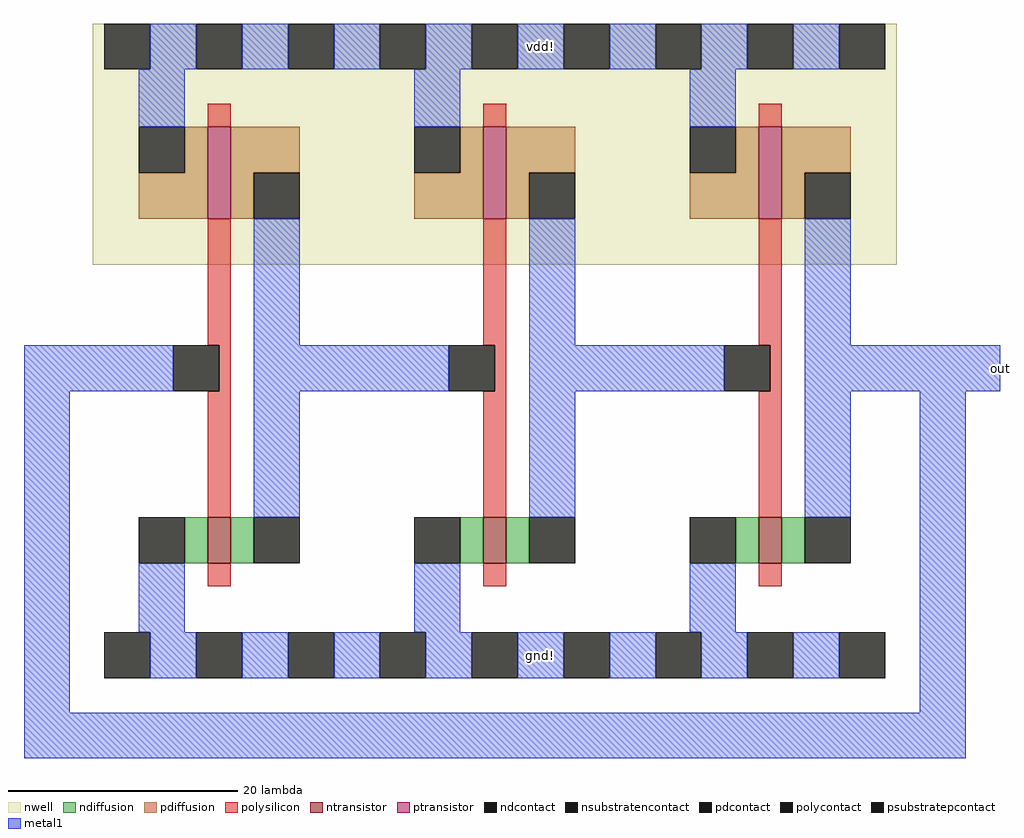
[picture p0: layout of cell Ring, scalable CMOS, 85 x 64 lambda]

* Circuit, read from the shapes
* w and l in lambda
.subckt Ring gnd! out vdd!
M1 n1 out gnd! gnd! nfet w=4 l=2
M2 n2 n1 gnd! gnd! nfet w=4 l=2
M3 out n2 gnd! gnd! nfet w=4 l=2
M4 n1 out vdd! vdd! pfet w=8 l=2
M5 n2 n1 vdd! vdd! pfet w=8 l=2
M6 out n2 vdd! vdd! pfet w=8 l=2
.ends

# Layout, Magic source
magic
tech scmos
<< nwell >>
rect -9 26 61 47
<< polysilicon >>
rect 1 38 3 40
rect 25 38 27 40
rect 49 38 51 40
rect 1 19 3 30
rect 25 19 27 30
rect 49 19 51 30
rect 2 15 3 19
rect 26 15 27 19
rect 50 15 51 19
rect 1 4 3 15
rect 25 4 27 15
rect 49 4 51 15
rect 1 -2 3 0
rect 25 -2 27 0
rect 49 -2 51 0
<< ndiffusion >>
rect -1 0 1 4
rect 3 0 5 4
rect 23 0 25 4
rect 27 0 29 4
rect 47 0 49 4
rect 51 0 53 4
<< pdiffusion >>
rect -1 34 1 38
rect -5 30 1 34
rect 3 34 9 38
rect 3 30 5 34
rect 23 34 25 38
rect 19 30 25 34
rect 27 34 33 38
rect 27 30 29 34
rect 47 34 49 38
rect 43 30 49 34
rect 51 34 57 38
rect 51 30 53 34
<< metal1 >>
rect -4 43 0 47
rect 4 43 8 47
rect 12 43 16 47
rect 20 43 24 47
rect 28 43 32 47
rect 36 43 40 47
rect 44 43 48 47
rect 52 43 56 47
rect -5 38 -1 43
rect 19 38 23 43
rect 43 38 47 43
rect 5 19 9 30
rect 29 19 33 30
rect 53 19 57 30
rect -15 15 -2 19
rect 5 15 22 19
rect 29 15 46 19
rect 53 15 70 19
rect -15 -13 -11 15
rect 5 4 9 15
rect 29 4 33 15
rect 53 4 57 15
rect -5 -6 -1 0
rect 19 -6 23 0
rect 43 -6 47 0
rect -4 -10 0 -6
rect 4 -10 8 -6
rect 12 -10 16 -6
rect 20 -10 24 -6
rect 28 -10 32 -6
rect 36 -10 40 -6
rect 44 -10 48 -6
rect 52 -10 56 -6
rect 63 -13 67 15
rect -15 -17 67 -13
<< ntransistor >>
rect 1 0 3 4
rect 25 0 27 4
rect 49 0 51 4
<< ptransistor >>
rect 1 30 3 38
rect 25 30 27 38
rect 49 30 51 38
<< polycontact >>
rect -2 15 2 19
rect 22 15 26 19
rect 46 15 50 19
<< ndcontact >>
rect -5 0 -1 4
rect 5 0 9 4
rect 19 0 23 4
rect 29 0 33 4
rect 43 0 47 4
rect 53 0 57 4
<< pdcontact >>
rect -5 34 -1 38
rect 5 30 9 34
rect 19 34 23 38
rect 29 30 33 34
rect 43 34 47 38
rect 53 30 57 34
<< psubstratepcontact >>
rect -8 -10 -4 -6
rect 0 -10 4 -6
rect 8 -10 12 -6
rect 16 -10 20 -6
rect 24 -10 28 -6
rect 32 -10 36 -6
rect 40 -10 44 -6
rect 48 -10 52 -6
rect 56 -10 60 -6
<< nsubstratencontact >>
rect -8 43 -4 47
rect 0 43 4 47
rect 8 43 12 47
rect 16 43 20 47
rect 24 43 28 47
rect 32 43 36 47
rect 40 43 44 47
rect 48 43 52 47
rect 56 43 60 47
<< labels >>
rlabel metal1 30 45 30 45 5 vdd!
rlabel metal1 30 -8 30 -8 1 gnd!
rlabel metal1 70 15 70 19 7 out
<< end >>
